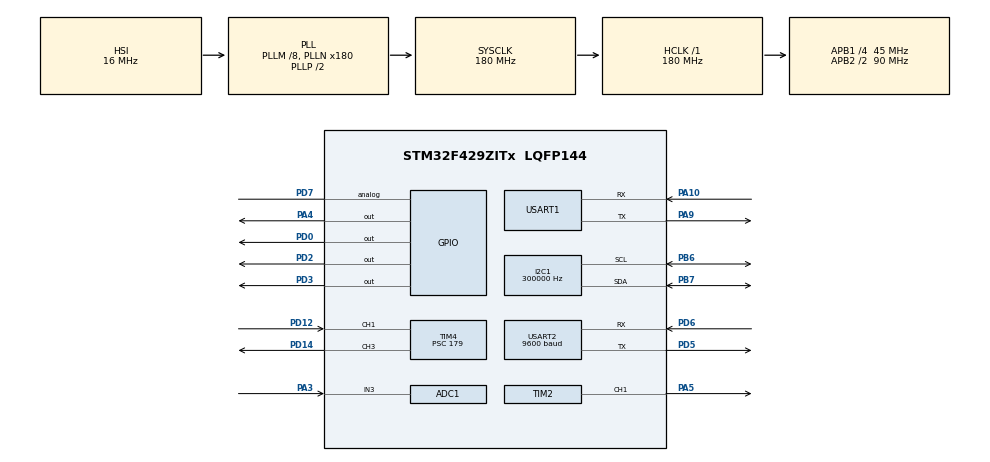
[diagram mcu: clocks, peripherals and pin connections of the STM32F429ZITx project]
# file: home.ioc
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ADC1.Channel-7\#ChannelRegularConversion=ADC_CHANNEL_3
ADC1.NbrOfConversionFlag=1
ADC1.Rank-7\#ChannelRegularConversion=1
ADC1.SamplingTime-7\#ChannelRegularConversion=ADC_SAMPLETIME_480CYCLES
ADC1.master=1
I2C1.ClockSpeed=300000
I2C1.I2C_Mode=I2C_Fast
Mcu.Family=STM32F4
Mcu.Name=STM32F429ZITx
Mcu.Package=LQFP144
NVIC.PriorityGroup=NVIC_PRIORITYGROUP_4
PA10.Mode=Asynchronous
PA10.Signal=USART1_RX
PA13.Mode=Serial_Wire
PA13.Signal=SYS_JTMS-SWDIO
PA14.Mode=Serial_Wire
PA14.Signal=SYS_JTCK-SWCLK
PA3.Signal=ADCx_IN3
PA4.Signal=GPIO_Output
PA5.Signal=S_TIM2_CH1_ETR
PA9.Mode=Asynchronous
PA9.Signal=USART1_TX
PB6.GPIO_Pu=GPIO_PULLUP
PB6.Mode=I2C
PB6.Signal=I2C1_SCL
PB7.GPIO_Pu=GPIO_PULLUP
PB7.Mode=I2C
PB7.Signal=I2C1_SDA
PD0.Signal=GPIO_Output
PD12.Signal=S_TIM4_CH1
PD14.Signal=S_TIM4_CH3
PD2.Signal=GPIO_Output
PD3.Signal=GPIO_Output
PD5.Mode=Asynchronous
PD5.Signal=USART2_TX
PD6.Mode=Asynchronous
PD6.Signal=USART2_RX
PD7.Signal=GPIO_Analog
PH0/OSC_IN.Mode=HSE-External-Oscillator
PH0/OSC_IN.Signal=RCC_OSC_IN
PH1/OSC_OUT.Mode=HSE-External-Oscillator
PH1/OSC_OUT.Signal=RCC_OSC_OUT
ProjectManager.HeapSize=0x200
ProjectManager.StackSize=0x400
ProjectManager.TargetToolchain=STM32CubeIDE
RCC.48MHZClocksFreq_Value=90000000
RCC.AHBFreq_Value=180000000
RCC.APB1CLKDivider=RCC_HCLK_DIV4
RCC.APB1Freq_Value=45000000
RCC.APB1TimFreq_Value=90000000
RCC.APB2CLKDivider=RCC_HCLK_DIV2
RCC.APB2Freq_Value=90000000
RCC.APB2TimFreq_Value=180000000
RCC.CortexFreq_Value=180000000
RCC.HCLKFreq_Value=180000000
RCC.HSE_VALUE=25000000
RCC.HSI_VALUE=16000000
RCC.LSE_VALUE=32768
RCC.PLLM=8
RCC.PLLN=180
RCC.SYSCLKFreq_VALUE=180000000
RCC.SYSCLKSource=RCC_SYSCLKSOURCE_PLLCLK
RCC.VCOOutputFreq_Value=360000000
SH.ADCx_IN3.0=ADC1_IN3,IN3
SH.S_TIM2_CH1_ETR.0=TIM2_CH1,PWM Generation1 CH1
SH.S_TIM4_CH1.0=TIM4_CH1,Input_Capture1_from_TI1
SH.S_TIM4_CH3.0=TIM4_CH3,PWM Generation3 CH3
TIM2.Channel-PWM\ Generation1\ CH1=TIM_CHANNEL_1
TIM2.Period=1249
TIM2.Prescaler=1
TIM2.Pulse-PWM\ Generation1\ CH1=312
TIM4.Channel-Input_Capture1_from_TI1=TIM_CHANNEL_1
TIM4.Channel-Input_Capture2_from_TI1_63=TIM_CHANNEL_2
TIM4.Channel-PWM\ Generation3\ CH3=TIM_CHANNEL_3
TIM4.ICPolarity_CH2=TIM_INPUTCHANNELPOLARITY_FALLING
TIM4.Period=30000
TIM4.Prescaler=179
TIM4.Pulse-PWM\ Generation3\ CH3=10
USART1.VirtualMode=VM_ASYNC
USART2.BaudRate=9600
USART2.VirtualMode=VM_ASYNC
VP_RTC_VS_RTC_Activate.Mode=RTC_Enabled
VP_TIM2_VS_ClockSourceINT.Mode=Internal
VP_TIM4_VS_ClockSourceINT.Mode=Internal
VP_TIM4_VS_indirect_ch1.Mode=Input_Capture2_from_TI1_63
board=custom

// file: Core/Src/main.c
/* USER CODE BEGIN Header */
/**
  ******************************************************************************
  * @file           : main.c
  * @brief          : Main program body
  ******************************************************************************
  * @attention
  *
  * <h2><center>&copy; Copyright (c) 2021 STMicroelectronics.
  * All rights reserved.</center></h2>
  *
  * This software component is licensed by ST under BSD 3-Clause license,
  * the "License"; You may not use this file except in compliance with the
  * License. You may obtain a copy of the License at:
  *                        opensource.org/licenses/BSD-3-Clause
  *
  ******************************************************************************
  */
/* USER CODE END Header */
#include "main.h"
#include "adc.h"
#include "i2c.h"
#include "rtc.h"
#include "tim.h"
#include "usart.h"
#include "gpio.h"

/* USER CODE BEGIN Includes */
#include <stdio.h>
#include <stdlib.h>
#include <string.h>
#include <stdbool.h>
/* USER CODE END Includes */

/* USER CODE BEGIN PD */

#define BUFFER_LEN   1

#define LSM9DS1_ADDR	0x6B<<1	//module's address - ACC/GYR
#define WHO_AM_I		0x0F	//if 0x68 is returned - communication OK

#define CTRL_REG1_G		0x10
#define CTRL_REG2_G		0x11
#define CTRL_REG3_G		0x12

#define CTRL_REG4		0X1E
#define CTRL_REG5_XL	0X1F
#define CTRL_REG6_XL	0X20
#define CTRL_REG7_XL	0X21

#define OUT_X_G		0x18
#define OUT_Y_G		0x1A
#define OUT_Z_G		0x1C

#define OUT_X_A		0x28
#define OUT_Y_A		0x2A
#define OUT_Z_A		0x2C

/* USER CODE END PD */

void SystemClock_Config(void);

/* USER CODE BEGIN 0 */

#define LINE_MAX_LENGTH	80

static char line_buffer[LINE_MAX_LENGTH + 1];
static uint32_t line_length;
static uint8_t TX_BUFFER[BUFFER_LEN] = {0};
static uint8_t read;
static uint8_t distance = 0;
static uint8_t prev_distance = 0;
static bool ROBOT = false;

/*-----UART1-USB-------*/
/*-----UART2-MODUL-BLUETOOTH-----*/

void line_append(uint8_t value)
{
	if (value == '\r' || value == '\n')
	{
		// odebraliśmy znak końca linii
		if (line_length > 0)
		{
			// jeśli bufor nie jest pusty to dodajemy 0 na końcu linii
			line_buffer[line_length] = '\0';
			// przetwarzamy dane
			printf("Otrzymano: %s\n", line_buffer);
			// zaczynamy zbieranie danych od nowa
			line_length = 0;
		}
	}else{
		if (line_length >= LINE_MAX_LENGTH)
		{
			// za dużo danych, usuwamy wszystko co odebraliśmy dotychczas
			line_length = 0;
		}
		// dopisujemy wartość do bufora
		line_buffer[line_length++] = value;
	}
}

//This function enables using 'printf()' for sending data by uart
int __io_putchar(int ch)
{
    if (ch == '\n')
    {
        uint8_t ch2 = '\r';
        HAL_UART_Transmit(&huart1, &ch2, 1, HAL_MAX_DELAY);
    }

    HAL_UART_Transmit(&huart1, (uint8_t*)&ch, 1, HAL_MAX_DELAY);
    return 1;
}

//read from LSM9DS1 module
uint8_t lsm_read_reg(uint8_t reg)
{
	uint8_t value = 0;
	HAL_I2C_Mem_Read(&hi2c1, LSM9DS1_ADDR, reg, 1, &value, sizeof(value), HAL_MAX_DELAY);

	return value;
}

//write to LSM9DS1 module
void lps_write_reg(uint8_t reg, uint8_t value)
{
	HAL_I2C_Mem_Write(&hi2c1, LSM9DS1_ADDR, reg, 1, &value, sizeof(value), HAL_MAX_DELAY);
}

void HAL_UART_RxCpltCallback(UART_HandleTypeDef *huart) //przerwanie od receivera uart
{
	//uint8_t value;
	//if (HAL_UART_Receive(&huart2, &received, 1, 0) == HAL_OK)
	//line_append(received);
	//atoi((char*)&received)
}

/* USER CODE END 0 */

int main(void)
{

  /* MCU Configuration--------------------------------------------------------*/

  /* Reset of all peripherals, Initializes the Flash interface and the Systick. */
  HAL_Init();

  /* Configure the system clock */
  SystemClock_Config();

  /* Initialize all configured peripherals */
  MX_GPIO_Init();
  MX_I2C1_Init();
  MX_USART1_UART_Init();
  MX_TIM2_Init();
  MX_RTC_Init();
  MX_ADC1_Init();
  MX_TIM4_Init();
  MX_USART2_UART_Init();
  /* USER CODE BEGIN 2 */

  //HAL_UART_Receive_IT(&huart1, &received, 1); //wlaczenie nasluchiwania na kanale UART

  //zegar dla czujnika odleglosci
  HAL_TIM_IC_Start(&htim4, TIM_CHANNEL_1);
  HAL_TIM_IC_Start(&htim4, TIM_CHANNEL_2);
  HAL_TIM_PWM_Start(&htim4, TIM_CHANNEL_3);

  //36 kHz signal IR diode
  HAL_TIM_PWM_Start(&htim2, TIM_CHANNEL_1);

  //HAL_UART_Receive_IT(&huart2, &received, 1); //wlaczenie nasluchiwania na kanale UART

  //volatile static uint16_t value[2];

  //HAL_ADC_Start_DMA(&hadc3, (uint32_t*)value, 1);

  /*
  //Checking communication with LSM9DS1 module
  printf("Searching for LSM9DS1...\n");
  uint8_t who_am_i = lsm_read_reg(WHO_AM_I);

  if (who_am_i == 0x68){
	  printf("Found: LSM9DS1\n");

	  //Set 476Hz and 2000dsp
	  //lps_write_reg(CTRL_REG1, 0xB8);
	  lps_write_reg(CTRL_REG1_G, 0xC0);
	  HAL_Delay(100);
	  lps_write_reg(CTRL_REG2_G, 0x00);
	  HAL_Delay(100);
	  lps_write_reg(CTRL_REG3_G, 0x00);
	  HAL_Delay(100);
	  lps_write_reg(CTRL_REG4, 0x38);
	  HAL_Delay(100);
	  lps_write_reg(CTRL_REG5_XL, 0x38);
	  HAL_Delay(100);
	  lps_write_reg(CTRL_REG6_XL, 0x00);
	  HAL_Delay(100);
	  lps_write_reg(CTRL_REG7_XL, 0x00);
	  HAL_Delay(100);
  }else {
	  printf("Error: (0x%02X)\n", who_am_i);
  }

  int16_t gyro[3];
   */

/*  double gyro[3];
  uint8_t data[6];
  int16_t i = 0, gyro_data[3];
*/

  /* USER CODE END 2 */

  /* Infinite loop */
  /* USER CODE BEGIN WHILE */
  while (1)
  {
	  /*-------------czytanie co przychodzi z UART---------------*/
	  if (HAL_UART_Receive(&huart2, &read, 1, 0) == HAL_OK)
		  line_append(read);

	  /*--------------VOLTAGE MEASUREMENT------------PA3*/
	  HAL_ADC_Start(&hadc1);
	  HAL_ADC_PollForConversion(&hadc1, HAL_MAX_DELAY);

	  uint32_t value = HAL_ADC_GetValue(&hadc1);
	  float voltage = 3.3f * value / 4096.0f;

	  //printf("ADC = %lu (%.3f V)\n", value, voltage);
	  //HAL_Delay(250);

	  /*--------------CZUJNIK ODLEGLOSCI----------------*/
	  uint32_t start = HAL_TIM_ReadCapturedValue(&htim4, TIM_CHANNEL_1);
	  uint32_t stop = HAL_TIM_ReadCapturedValue(&htim4, TIM_CHANNEL_2);

	  distance = (stop - start) / 58;
	  //printf("STACJA: %u\n", distance);

	  if (prev_distance != distance)
		  prev_distance = distance;

	  if (ROBOT == false && prev_distance < 4)
	  {
		  ROBOT = true;

		  //wyslanie info, ze robot jest przed stykami
		  TX_BUFFER[0] = '1';
		  HAL_UART_Transmit(&huart2, TX_BUFFER, sizeof(TX_BUFFER), HAL_MAX_DELAY);
	  }
	  else if (ROBOT == true && distance > 4)
	  {
		  ROBOT = false;

		  //wyslanie info, ze robot oddalil sie od stykow
		  TX_BUFFER[0] = '2';
		  HAL_UART_Transmit(&huart2, TX_BUFFER, sizeof(TX_BUFFER), HAL_MAX_DELAY);
	  }

	  /*--------------------STEROWANIE ROBOTEM Z POZIOMU KOMPTERA-USB-UART-------------*/
	  uint8_t uart1;
	  if (HAL_UART_Receive(&huart1, &uart1, 1, 0) == HAL_OK)
	  {
		  line_append(uart1);

		  TX_BUFFER[0] = uart1;
		  HAL_UART_Transmit(&huart2, TX_BUFFER, 1, HAL_MAX_DELAY);
	  }

/*---------------9 DOF HERE----------------
	  if (who_am_i == 0x68){

//		HAL_I2C_Mem_Read(&hi2c1, LSM9DS1_ADDR, 0x18, 1, data, 6, 0x100);
//
//		for (i = 0; i < 3; i++){
//			gyro_data[i] = (data[2*i+1]) | data[2*i];
//			gyro[i] = (double)gyro_data[i]*0.00875;
//		}
//		printf("G1: vx=%2.2lf, vy=%2.2lf, vz=%2.2lf,\n", gyro[0], gyro[1], gyro[2]);

		HAL_I2C_Mem_Read(&hi2c1, LSM9DS1_ADDR, OUT_X_G | 0x80, 1, (uint8_t*)&gyro[0], sizeof(gyro[0]), HAL_MAX_DELAY);
		HAL_I2C_Mem_Read(&hi2c1, LSM9DS1_ADDR, OUT_Y_G | 0x80, 1, (uint8_t*)&gyro[1], sizeof(gyro[1]), HAL_MAX_DELAY);
		HAL_I2C_Mem_Read(&hi2c1, LSM9DS1_ADDR, OUT_Z_G | 0x80, 1, (uint8_t*)&gyro[2], sizeof(gyro[2]), HAL_MAX_DELAY);

		//printf("G: %2.2lf, %2.2lf, %2.2lf,\n", gyro[0], gyro[1], gyro[2]);
		HAL_Delay(500);
	  } else {
		printf("Error: (0x%02X)\n", who_am_i);
	  }
----------------END 9 DOF HERE----------------*/

    /* USER CODE END WHILE */

  }
}

void SystemClock_Config(void)
{
  RCC_OscInitTypeDef RCC_OscInitStruct = {0};
  RCC_ClkInitTypeDef RCC_ClkInitStruct = {0};

  /** Configure the main internal regulator output voltage
  */
  __HAL_RCC_PWR_CLK_ENABLE();
  __HAL_PWR_VOLTAGESCALING_CONFIG(PWR_REGULATOR_VOLTAGE_SCALE1);

  /** Initializes the RCC Oscillators according to the specified parameters
  * in the RCC_OscInitTypeDef structure.
  */
  RCC_OscInitStruct.OscillatorType = RCC_OSCILLATORTYPE_HSI|RCC_OSCILLATORTYPE_LSI;
  RCC_OscInitStruct.HSIState = RCC_HSI_ON;
  RCC_OscInitStruct.HSICalibrationValue = RCC_HSICALIBRATION_DEFAULT;
  RCC_OscInitStruct.LSIState = RCC_LSI_ON;
  RCC_OscInitStruct.PLL.PLLState = RCC_PLL_ON;
  RCC_OscInitStruct.PLL.PLLSource = RCC_PLLSOURCE_HSI;
  RCC_OscInitStruct.PLL.PLLM = 8;
  RCC_OscInitStruct.PLL.PLLN = 180;
  RCC_OscInitStruct.PLL.PLLP = RCC_PLLP_DIV2;
  RCC_OscInitStruct.PLL.PLLQ = 4;
  if (HAL_RCC_OscConfig(&RCC_OscInitStruct) != HAL_OK)
  {
    Error_Handler();
  }

  /** Activate the Over-Drive mode
  */
  if (HAL_PWREx_EnableOverDrive() != HAL_OK)
  {
    Error_Handler();
  }

  /** Initializes the CPU, AHB and APB buses clocks
  */
  RCC_ClkInitStruct.ClockType = RCC_CLOCKTYPE_HCLK|RCC_CLOCKTYPE_SYSCLK
                              |RCC_CLOCKTYPE_PCLK1|RCC_CLOCKTYPE_PCLK2;
  RCC_ClkInitStruct.SYSCLKSource = RCC_SYSCLKSOURCE_PLLCLK;
  RCC_ClkInitStruct.AHBCLKDivider = RCC_SYSCLK_DIV1;
  RCC_ClkInitStruct.APB1CLKDivider = RCC_HCLK_DIV4;
  RCC_ClkInitStruct.APB2CLKDivider = RCC_HCLK_DIV2;

  if (HAL_RCC_ClockConfig(&RCC_ClkInitStruct, FLASH_LATENCY_5) != HAL_OK)
  {
    Error_Handler();
  }
}

void Error_Handler(void)
{
  __disable_irq();
  while (1)
  {
  }
}
